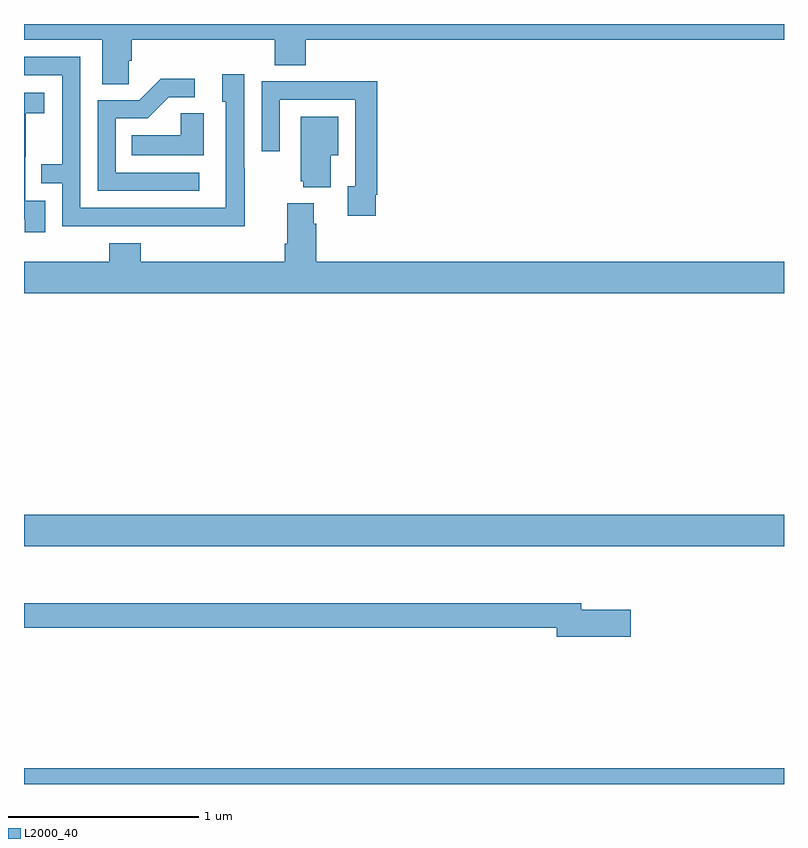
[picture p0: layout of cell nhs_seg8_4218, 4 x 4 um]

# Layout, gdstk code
import gdstk
lib = gdstk.Library(unit=1e-6, precision=1e-09)
def R(c, l, rs):  # rectangles x0, y0, x1, y1
    for r in rs: c.add(gdstk.rectangle(r[:2], r[2:], *l))
def P(c, l, *ps):  # polygons
    for p in ps: c.add(gdstk.Polygon(p, *l))
L2000_40 = (2000, 40)

nhs_seg8_4218 = lib.new_cell('nhs_seg8_4218')
R(nhs_seg8_4218, L2000_40, [(369,1129.9,373,1129.984), (369,1131.152,373,1131.316)])
P(nhs_seg8_4218, L2000_40, [(369.552,1133.707),(369.566,1133.707),(369.566,1133.816),(370.319,1133.816),(370.319,1133.683),(370.484,1133.683),(370.484,1133.816),(373,1133.816),(373,1133.9),(369,1133.9),(369,1133.816),(369.413,1133.816),(369.413,1133.584),(369.552,1133.584)],
  [(370.161,1133.141),(370.158,1133.141),(370.158,1133.635),(370.043,1133.635),(370.043,1133.49),(370.062,1133.49),(370.062,1132.932),(369.297,1132.932),(369.297,1133.727),(369,1133.727),(369,1133.631),(369.201,1133.631),(369.201,1133.162),(369.091,1133.162),(369.091,1133.061),(369.201,1133.061),(369.201,1132.836),(369.697,1132.836),(369.697,1132.835),(370.161,1132.835)],
  [(369.922,1133.118),(369.483,1133.118),(369.483,1133.403),(369.652,1133.403),(369.763,1133.514),(369.898,1133.514),(369.898,1133.612),(369.719,1133.612),(369.606,1133.499),(369.387,1133.499),(369.387,1133.022),(369.922,1133.022)],
  [(370.852,1133.002),(370.859,1133.002),(370.859,1133.6),(370.567,1133.6),(370.567,1133.598),(370.251,1133.598),(370.251,1133.229),(370.347,1133.229),(370.347,1133.502),(370.743,1133.502),(370.743,1133.046),(370.703,1133.046),(370.703,1132.89),(370.852,1132.89)],
  [(369.111,1132.971),(369.006,1132.971),(369.006,1133.201),(369.008,1133.201),(369.008,1133.429),(369.106,1133.429),(369.106,1133.539),(369,1133.539),(369,1132.873),(369.003,1132.873),(369.003,1132.803),(369.111,1132.803)],
  [(369.946,1133.429),(369.825,1133.429),(369.825,1133.314),(369.568,1133.314),(369.568,1133.21),(369.946,1133.21)],
  [(370.615,1133.21),(370.654,1133.21),(370.654,1133.413),(370.457,1133.413),(370.457,1133.073),(370.469,1133.073),(370.469,1133.042),(370.615,1133.042)],
  [(373,1132.648),(370.538,1132.648),(370.538,1132.85),(370.525,1132.85),(370.525,1132.957),(370.385,1132.957),(370.385,1132.744),(370.373,1132.744),(370.373,1132.648),(369.614,1132.648),(369.614,1132.747),(369.449,1132.747),(369.449,1132.648),(369,1132.648),(369,1132.484),(373,1132.484)],
  [(372.193,1130.817),(371.932,1130.817),(371.932,1130.851),(369,1130.851),(369,1130.722),(371.804,1130.722),(371.804,1130.675),(372.193,1130.675)])

lib.write_gds('nhs_seg8_4218.gds')
